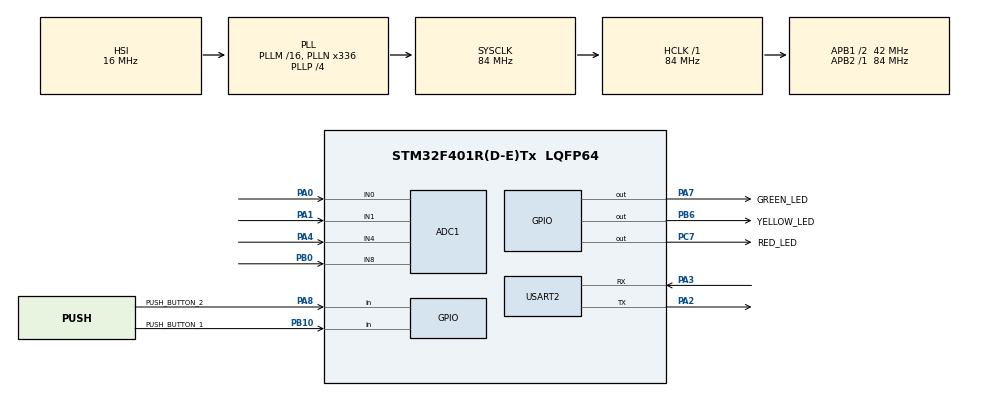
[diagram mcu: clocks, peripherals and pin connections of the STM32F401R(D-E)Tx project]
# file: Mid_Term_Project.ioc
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ADC1.Channel-0\#ChannelRegularConversion=ADC_CHANNEL_0
ADC1.NbrOfConversionFlag=1
ADC1.Rank-0\#ChannelRegularConversion=1
ADC1.SamplingTime-0\#ChannelRegularConversion=ADC_SAMPLETIME_3CYCLES
ADC1.master=1
Mcu.Family=STM32F4
Mcu.Name=STM32F401R(D-E)Tx
Mcu.Package=LQFP64
NVIC.PriorityGroup=NVIC_PRIORITYGROUP_0
PA0-WKUP.Signal=ADCx_IN0
PA1.Signal=ADCx_IN1
PA2.Mode=Asynchronous
PA2.Signal=USART2_TX
PA3.Mode=Asynchronous
PA3.Signal=USART2_RX
PA4.Signal=ADCx_IN4
PA7.GPIO_Label=GREEN_LED
PA7.Signal=GPIO_Output
PA8.GPIO_Label=PUSH_BUTTON_2
PA8.Signal=GPIO_Input
PB0.Signal=ADCx_IN8
PB10.GPIO_Label=PUSH_BUTTON_1
PB10.Signal=GPIO_Input
PB6.GPIO_Label=YELLOW_LED
PB6.Signal=GPIO_Output
PC7.GPIO_Label=RED_LED
PC7.Signal=GPIO_Output
ProjectManager.HeapSize=0x200
ProjectManager.StackSize=0x400
ProjectManager.TargetToolchain=STM32CubeIDE
RCC.AHBFreq_Value=84000000
RCC.APB1CLKDivider=RCC_HCLK_DIV2
RCC.APB1Freq_Value=42000000
RCC.APB1TimFreq_Value=84000000
RCC.APB2Freq_Value=84000000
RCC.APB2TimFreq_Value=84000000
RCC.CortexFreq_Value=84000000
RCC.HCLKFreq_Value=84000000
RCC.HSE_VALUE=8000000
RCC.HSI_VALUE=16000000
RCC.LSE_VALUE=32768
RCC.PLLN=336
RCC.PLLP=RCC_PLLP_DIV4
RCC.PLLQ=7
RCC.SYSCLKFreq_VALUE=84000000
RCC.SYSCLKSource=RCC_SYSCLKSOURCE_PLLCLK
RCC.VCOOutputFreq_Value=336000000
SH.ADCx_IN0.0=ADC1_IN0,IN0
SH.ADCx_IN1.0=ADC1_IN1,IN1
SH.ADCx_IN4.0=ADC1_IN4,IN4
SH.ADCx_IN8.0=ADC1_IN8,IN8
USART2.VirtualMode=VM_ASYNC
board=NUCLEO-F401RE

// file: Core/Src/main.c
/* USER CODE BEGIN Header */
/**
  ******************************************************************************
  * @file           : main.c
  * @brief          : Main program body
  ******************************************************************************
  * @attention
  *
  * Copyright (c) 2024 STMicroelectronics.
  * All rights reserved.
  *
  * This software is licensed under terms that can be found in the LICENSE file
  * in the root directory of this software component.
  * If no LICENSE file comes with this software, it is provided AS-IS.
  *
  ******************************************************************************
  */
/**
  * Modifications for the Wearable System for Health Monitoring Project:
  * Authors: Carmine Vardaro, Alessia Parente, Antonio D'Arienzo
  *
  * This project involves the development of a wearable health monitoring system designed to track and analyze various physiological parameters, including:
  * - Step counting using Interlink FSR 402 sensors embedded in footwear, with LEDs indicating activity states (resting, walking, running).
  * - Body temperature measurement via an NTC Thermistor MF52 10K, with the data displayed when activated by a button.
  * - Heart rate (HR) and heart rate variability (HRV) monitoring using the AD8232 module, activated by a separate button.
  *
  * The system aggregates the data and provides real-time warnings for abnormal readings, such as elevated heart rate during rest periods, to ensure optimal health management.
  * Licensed under the GNU General Public License v3.0 (GPL v3).
  * For more details, see: https://www.gnu.org/licenses/gpl-3.0.html
  */
/* USER CODE END Header */
#include "main.h"
#include "adc.h"
#include "usart.h"
#include "gpio.h"
/* USER CODE BEGIN Includes */
#include <stdio.h>                   // Standard I/O functions
#include "interface.h"               // User interface functions
#include "button.h"                  // Button input handling
#include "led.h"                     // LED control functions
#include "switch_channel.h"          // Channel switching logic
#include "activity_tracking.h"       // Activity tracking (step counting)
#include "read_temperature.h"        // Body temperature measurement
#include "ECG_module.h"              // ECG with HR and HRV monitoring
#include "alarms.h"                  // Alarm system for anomalies
/* USER CODE END Includes */

/* USER CODE BEGIN PD */
// Sampling intervals in milliseconds for the 3 tasks
#define STEP_SAMPLING_INTERVAL 10  // Step counting interval (10 ms)
#define ECG_SAMPLING_INTERVAL 5    // ECG sampling interval (5 ms)
#define TEMP_SAMPLING_INTERVAL 500 // Temperature sampling interval (500 ms)
// FOR ACTIVITY TRACKING
#define STEP_BUFFER_SIZE 5 // Size of the step buffer
// FOR ECG
#define SAMPLING_FREQUENCY_ECG 200 // ECG sampling frequency
#define ECG_BUF_LENGHT 4 // Buffer length for the ECG filter
#define ELAB_ECG_BUF_SIZE 1000 // Window size for ECG values (ECG_SAMPLING_INTERVAL * SAMPLING_FREQUENCY_ECG)
/* USER CODE END PD */

void SystemClock_Config(void);
// Handles the step counter logic, updating the user activity and LED states
void handle_step_counter(ADC_HandleTypeDef *hadc, UserActivity *userActivity, StepBuffer *stepBuffer, LedArray *leds);
// Handles the temperature measurement, updating the temperature data
void handle_temperature(ADC_HandleTypeDef *hadc, TempParam *temp, UserState state);
// Releases the temperature measurement resources after use
void handle_temperature_release(TempParam *temp);
// Handles the ECG data processing, applying filtering and updating the ECG parameters and allarm
void handle_ECG(ADC_HandleTypeDef *hadc, FilterECGParam *filter, ECGParam *ECGparam, uint8_t *message, UserState state);
// Releases the ECG resources when the button is released, updating the ECG parameters
void handle_ECG_button_release(FilterECGParam *filter, ECGParam *ECGparam, uint8_t *message);

int main(void)
{

  /* MCU Configuration--------------------------------------------------------*/

  /* Reset of all peripherals, Initializes the Flash interface and the Systick. */
  HAL_Init();

  /* Configure the system clock */
  SystemClock_Config();

  /* Initialize all configured peripherals */
  MX_GPIO_Init();
  MX_USART2_UART_Init();
  MX_ADC1_Init();
  /* USER CODE BEGIN 2 */

  clear_screen();  // Clears the screen display (interface.c)
  init_interface();  // Initializes the user interface (interface.c)

  // Global variables to manage the sampling intervals
  uint32_t last_step_time = 0;  // Time of last step counting update
  uint32_t last_ecg_time = 0;   // Time of last ECG data update
  uint32_t last_temp_time = 0;  // Time of last temperature reading
  uint32_t current_time = 0;    // Holds the current time for interval checks

  uint8_t message_ECG = 0;  // Stores the ECG message for display or processing

  /* Button configuration and initialization (using button.h and button.c) */
  buttonConfig temp_Button, ECG_Button;  // Declare variables for button configuration
  button_init(&temp_Button, PUSH_BUTTON_1_Pin, GPIOB, GPIO_PIN_SET);  // Initialize temperature button (label, port, initial state)
  button_init(&ECG_Button, PUSH_BUTTON_2_Pin, GPIOA, GPIO_PIN_SET);   // Initialize ECG button (label, port, initial state)
  GPIO_PinState b_state;  // Variable to store the current state of the buttons

  /* LED configuration and initialization (using led.h and led.c) */
  LedArray leds;  // Create structure to hold all three LEDs
  led_init(&leds.green_Led, GREEN_LED_Pin, GPIOA, GPIO_PIN_RESET);   // Initialize green LED
  led_init(&leds.yellow_Led, YELLOW_LED_Pin, GPIOB, GPIO_PIN_RESET); // Initialize yellow LED
  led_init(&leds.red_Led, RED_LED_Pin, GPIOC, GPIO_PIN_RESET);       // Initialize red LED

  /* Activity tracking initialization (using activity_tracking.h and activity_tracking.c) */
  UserActivity userActivity;  // Declare the UserActivity structure
  StepBuffer stepBuffer;      // Declare the StepBuffer structure
  uint32_t STEP_buf[STEP_BUFFER_SIZE];  // Buffer to store step data
  UserActivity_init(&userActivity, &leds);  // Initialize user activity tracking with LED states
  StepBuffer_init(&stepBuffer, STEP_buf, STEP_BUFFER_SIZE);  // Initialize step buffer for step tracking

  /* Thermistor structure initialization (using read_temperature.h and read_temperature.c) */
  TempParam tempParam;  // Declare the temperature parameter structure
  init_TemperatureParams(&tempParam);  // Initialize the temperature parameter structure

  /* ECG structure initialization (using ECG_module.h and ECG_module.c) */
  FilterECGParam filterECG;  // Declare the ECG filter structure
  ECGParam ECGparam;        // Declare the ECG parameter structure
  uint16_t ECG_buf[ECG_BUF_LENGHT], elab_ECG_buf[ELAB_ECG_BUF_SIZE];  // Buffers for ECG data and filtered results
  ECG_init_Filter(&filterECG, ECG_buf, ECG_BUF_LENGHT);  // Initialize ECG filter with buffer
  ECG_init_ECG(&ECGparam, elab_ECG_buf, ELAB_ECG_BUF_SIZE);  // Initialize ECG parameters with buffer

  /* USER CODE END 2 */

  /* Infinite loop */
  /* USER CODE BEGIN WHILE */
  while (1)
  {

	  current_time = HAL_GetTick();  // Get the current system time

	  // Step counter management: only if it's the right time to sample
	  if ((current_time - last_step_time) >= STEP_SAMPLING_INTERVAL) {
	      handle_step_counter(&hadc1, &userActivity, &stepBuffer, &leds);  // Call the function to handle step counting
	      last_step_time = current_time;  // Update the last step sampling time
	  }

	  // Temperature button management
	  b_state = read_button(&temp_Button);  // Read the state of the temperature button, debounce implemented (using button.c)

	  if (b_state == GPIO_PIN_RESET) {  // Temperature button pressed

	      // Only sample if the time interval has passed
	      if ((current_time - last_temp_time) >= TEMP_SAMPLING_INTERVAL) {
	          handle_temperature(&hadc1, &tempParam, userActivity.state);  // Call the function to handle temperature measurement
	          last_temp_time = current_time;  // Update the last temperature sampling time
	      }

	  } else if (temp_Button.previous_state == GPIO_PIN_RESET && b_state == GPIO_PIN_SET) {
	      // Button was released (transitioned from RESET to SET)
	      handle_temperature_release(&tempParam);  // Call the function to handle the temperature button release
	  }

	  // ECG button management
	  b_state = read_button(&ECG_Button);  // Read the state of the ECG button, debounce implemented ((using button.c)

	  if (b_state == GPIO_PIN_RESET) {  // ECG button pressed

	      // Only sample if the time interval has passed
	      if ((current_time - last_ecg_time) >= ECG_SAMPLING_INTERVAL) {
	          handle_ECG(&hadc1, &filterECG, &ECGparam, &message_ECG, userActivity.state);  // Call the function to handle ECG measurement
	          last_ecg_time = current_time;  // Update the last ECG sampling time
	      }

	  } else if (ECG_Button.previous_state == GPIO_PIN_RESET && b_state == GPIO_PIN_SET) {
	      // ECG button was released (transitioned from RESET to SET)
	      handle_ECG_button_release(&filterECG, &ECGparam, &message_ECG);  // Call the function to handle the ECG button release
	  }

    /* USER CODE END WHILE */

  }
}

void SystemClock_Config(void)
{
  RCC_OscInitTypeDef RCC_OscInitStruct = {0};
  RCC_ClkInitTypeDef RCC_ClkInitStruct = {0};

  /** Configure the main internal regulator output voltage
  */
  __HAL_RCC_PWR_CLK_ENABLE();
  __HAL_PWR_VOLTAGESCALING_CONFIG(PWR_REGULATOR_VOLTAGE_SCALE2);

  /** Initializes the RCC Oscillators according to the specified parameters
  * in the RCC_OscInitTypeDef structure.
  */
  RCC_OscInitStruct.OscillatorType = RCC_OSCILLATORTYPE_HSI;
  RCC_OscInitStruct.HSIState = RCC_HSI_ON;
  RCC_OscInitStruct.HSICalibrationValue = RCC_HSICALIBRATION_DEFAULT;
  RCC_OscInitStruct.PLL.PLLState = RCC_PLL_ON;
  RCC_OscInitStruct.PLL.PLLSource = RCC_PLLSOURCE_HSI;
  RCC_OscInitStruct.PLL.PLLM = 16;
  RCC_OscInitStruct.PLL.PLLN = 336;
  RCC_OscInitStruct.PLL.PLLP = RCC_PLLP_DIV4;
  RCC_OscInitStruct.PLL.PLLQ = 7;
  if (HAL_RCC_OscConfig(&RCC_OscInitStruct) != HAL_OK)
  {
    Error_Handler();
  }

  /** Initializes the CPU, AHB and APB buses clocks
  */
  RCC_ClkInitStruct.ClockType = RCC_CLOCKTYPE_HCLK|RCC_CLOCKTYPE_SYSCLK
                              |RCC_CLOCKTYPE_PCLK1|RCC_CLOCKTYPE_PCLK2;
  RCC_ClkInitStruct.SYSCLKSource = RCC_SYSCLKSOURCE_PLLCLK;
  RCC_ClkInitStruct.AHBCLKDivider = RCC_SYSCLK_DIV1;
  RCC_ClkInitStruct.APB1CLKDivider = RCC_HCLK_DIV2;
  RCC_ClkInitStruct.APB2CLKDivider = RCC_HCLK_DIV1;

  if (HAL_RCC_ClockConfig(&RCC_ClkInitStruct, FLASH_LATENCY_2) != HAL_OK)
  {
    Error_Handler();
  }
}

/* USER CODE BEGIN 4 */

int _write(int file, char *ptr, int len)
{
	HAL_UART_Transmit(&huart2, (uint8_t *)ptr, len, HAL_MAX_DELAY);
    return len;
}

/*
 * Handles step counting by reading force sensors from both feet.
 * Updates user activity, step count, and LEDs. Displays an error message if sensor readings fail.
 */
void handle_step_counter(ADC_HandleTypeDef *hadc, UserActivity *userActivity, StepBuffer *stepBuffer, LedArray *leds) {

    uint16_t data_out_1, data_out_2;

    // Read the force sensors for the left and right foot (switch_channel.c)
    // If reading from either sensor fails, show an error message
    if (switch_channel_and_read(hadc, ADC_CHANNEL_1, &data_out_1) != HAL_OK ||
        switch_channel_and_read(hadc, ADC_CHANNEL_4, &data_out_2) != HAL_OK) {
        update_activity_message("Error with ADC");  // Display error message on interface (interface.c)
        HAL_Delay(1000);  // Wait for 1 second to show error and stop other interaction
        update_activity_message("              ");  // Clear the error message
    } else {
        // If readings are successful, update the sensor data for both feet
        read_forceSensor(&data_out_1, &userActivity->left_foot);  // Read left foot sensor data
        read_forceSensor(&data_out_2, &userActivity->right_foot); // Read right foot sensor data

        // Update the step count and the LEDs based on the current activity
        // The update are integrated in the file activity_tracking.c for a real time and only necessary change of interface
        update_step_count(userActivity, HAL_GetTick(), stepBuffer, leds);
    }
}
/*
 * Handles temperature reading by switching to the temperature sensor channel.
 * If the reading is successful, it processes the temperature data.
 * If there is an error in the ADC reading, it displays an error message.
 */
void handle_temperature(ADC_HandleTypeDef *hadc, TempParam *temp, UserState state) {

	uint16_t data_out;
    // Read temperature sensor data (switch_cannel.c)
    if (switch_channel_and_read(hadc, ADC_CHANNEL_0, &data_out) != HAL_OK) {
    	update_temperature_message("Error with ADC"); // Display error message on interface (interface.c)
    	HAL_Delay(1000); // Wait for 1 second to show error and stop other interaction
    } else {
    	// Processes the temperature data and updates the state accordingly. (read_temperature.c)
    	// Updates are handled in the 'read_temperature.c' file to ensure real-time processing with minimal interface changes.
    	read_Temperature(temp, data_out, state);
    }
}
/*
 * Resets the temperature parameters and clears the temperature interface
 * when the button is released.
 */
void handle_temperature_release(TempParam *temp){
    // Reset the temperature parameters to default values (read_temperature.c)
    reset_TemperatureParams(temp);
    // Clears the temperature message and progress display. (interface.c)
    clear_temp_interface();
}
/*
 * Function to handle ECG signal acquisition and processing
 * It reads ECG data, processes the signal, calculates HR and HRV, and updates the user interface
 */
void handle_ECG(ADC_HandleTypeDef *hadc, FilterECGParam *filter, ECGParam *ECGparam, uint8_t *message, UserState state) {

    uint16_t data_out;

    // Update the message only once
    if (!(*message)) {
        update_ECG_message("calculating HR..analyzing HRV...hold steady..");  // Display message indicating ECG analysis is in progress (interface.c)
        *message = 1;  // Set the flag to 1 after updating the message to prevent repetition
    }

    // Change the ADC channel, read the value, and check for success (switch_channel.c)
    if (switch_channel_and_read(hadc, ADC_CHANNEL_8, &data_out) != HAL_OK) {
        update_ECG_message("Error with ADC");  // Display error message if ADC reading fails (interface.c)
        *message = 0;  // Reset the message flag
        HAL_Delay(1000);  // Wait for 1 second before retrying to show error and stop other interaction
        return;  // Exit early in case of error
    }

    // Filter the raw signal using the provided filter parameters (ECG_module.c)
    filter_signal(filter, ECGparam, data_out);

    // Calculate the progress of data collection and update the interface
    uint8_t progress = (ECGparam->count * 100) / ECGparam->length;
    update_ECG_progress(progress);  // Update the progress display with the percentage of data collected (interface.c)

    // Check if all the necessary samples have been collected
    if (ECGparam->count >= ECGparam->length) {
        // Process the ECG signal to calculate HR and HRV ((ECG_module.c)
        if (elab_ECG(ECGparam, SAMPLING_FREQUENCY_ECG) != HAL_OK) {
            update_ECG_message("Error ECG elaboration, Retry..");  // Display error message if ECG processing fails (interface.c)
            *message = 0;  // Reset the message flag
            HAL_Delay(1000);  // Wait for 1 second before retrying to show Error
        } else {
            update_ECG(ECGparam->HR, ECGparam->HRV); // Update HR and HRV values in the user interface (interface.c)
            checkECG_Alarm(ECGparam->HR, ECGparam->HRV, state);  // Check if an alarm should be triggered based on HR and HRV (alarm.c)
            *message = 0;  // Reset the message flag after processing
        }
        // Reset the counter to allow new data acquisition
        ECGparam->count = 0;
    }
}
/*
 * Function to handle the release of the ECG button
 * It resets ECG parameters and clears the ECG interface after the process is interrupted or finished
 */
void handle_ECG_button_release(FilterECGParam *filter, ECGParam *ECGparam, uint8_t *message) {

    // Reset the filter parameters and the ECG structure to prepare for the next reading (ECG_module.c)
    reset_ECG(filter, ECGparam);
    // Clear the ECG interface to indicate that the processing has ended or was interrupted (interface.c)
    clear_ECG_interface();
    // Reset the message flag to allow a new message to be shown if necessary
    *message = 0;
}

/* USER CODE END 4 */

void Error_Handler(void)
{
  __disable_irq();
  while (1)
  {
  }
}
